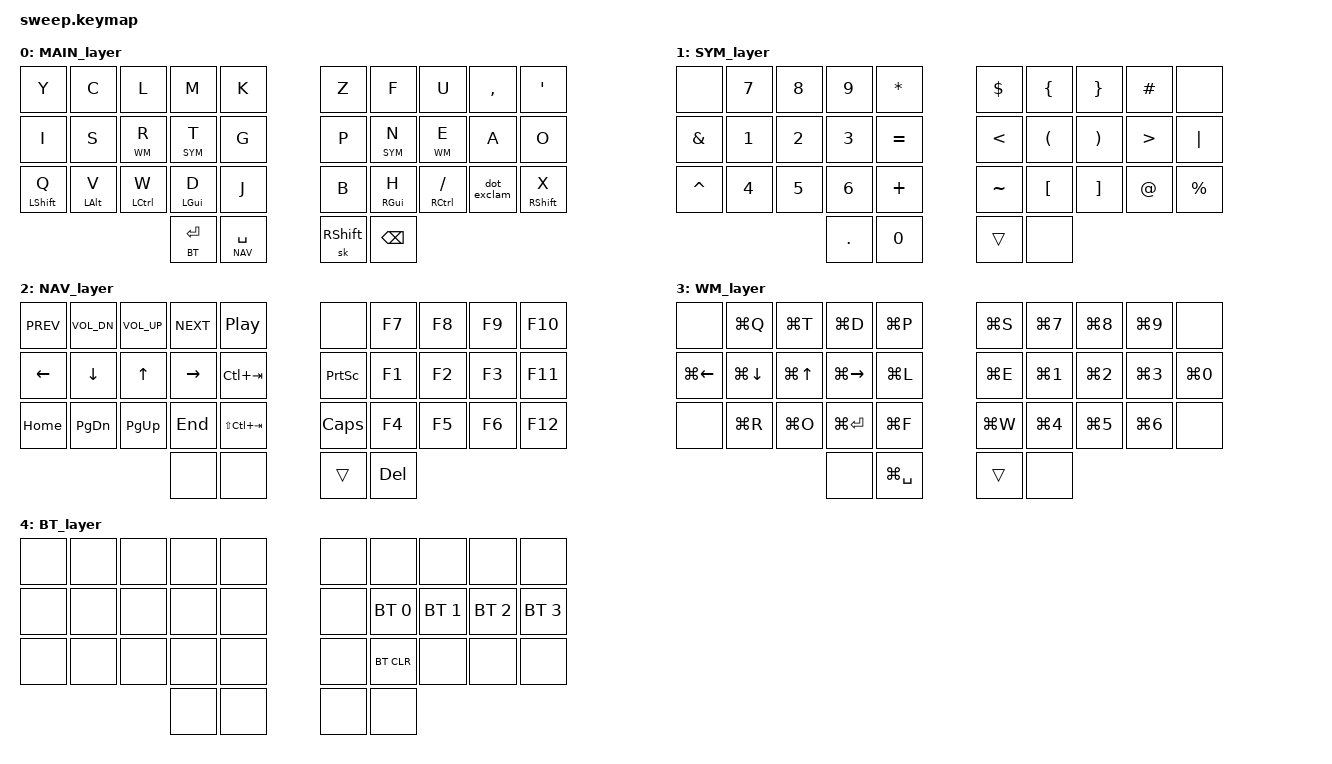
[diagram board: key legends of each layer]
/*
* Copyright (c) 2020 The ZMK Contributors
*
* SPDX-License-Identifier: MIT
*/

#include <behaviors.dtsi>
#include <dt-bindings/zmk/keys.h>
#include <dt-bindings/zmk/bt.h>

#define MAIN 0
#define SYM 1
#define NAV 2
#define WM 3
#define BT 4

&mt {
    flavor = "tap-preferred";
    tapping_term_ms = <140>;
};

/ {
    behaviors {
        dot_exclam: dot_exclam {
            compatible = "zmk,behavior-mod-morph";            
            label = "DOT_EXCLAM";            
            #binding-cells = <0>;            
            bindings = <&mt RALT DOT>, <&kp EXCL>;            
            mods = <(MOD_LSFT|MOD_RSFT)>;
        };
    };

    combos {
        compatible = "zmk,combos";

        combo_esc {
            timeout-ms = <100>;
            key-positions = <21 22>;
            bindings = <&kp ESC>;
        };

        combo_tab {
            timeout-ms = <100>;
            key-positions = <22 23>;
            bindings = <&kp TAB>;
        };

        combo_minus {
            timeout-ms = <100>;
            key-positions = <26 27>;
            bindings = <&kp MINUS>;
        };

        combo_underscore {
            timeout-ms = <100>;
            key-positions = <26 28>;
            bindings = <&kp UNDERSCORE>;
        };

        combo_colon {
            timeout-ms = <100>;
            key-positions = <7 8>;
            bindings = <&kp COLON>;
        };

        combo_semicolon {
            timeout-ms = <100>;
            key-positions = <6 8>;
            bindings = <&kp SEMICOLON>;
        };

        combo_backslash {
            timeout-ms = <100>;
            key-positions = <27 28>;
            bindings = <&kp BSLH>;
        };

        combo_grave {
            timeout-ms = <100>;
            key-positions = <8 9>;
            bindings = <&kp GRAVE>;
        };
    };

    keymap {
        compatible = "zmk,keymap";

        MAIN_layer {
            bindings = <
                &kp Y       &kp C      &kp L       &kp M        &kp K          &kp Z     &kp F      &kp U          &kp COMMA   &kp APOS
                &kp I       &kp S      &lt WM R    &lt SYM T    &kp G          &kp P     &lt SYM N  &lt WM E       &kp A       &kp O
                &mt LSHFT Q &mt LALT V &mt LCTRL W &mt LGUI D   &kp J          &kp B     &mt RGUI H &mt RCTRL FSLH &dot_exclam &mt RSHFT X
                                                   &lt BT ENTER &lt NAV SPC    &sk RSHFT &kp BKSP 
            >;
        };

        SYM_layer {
            bindings = <
                &none     &kp N7 &kp N8 &kp N9  &kp STAR     &kp DLLR  &kp LBRC &kp RBRC &kp HASH  &none
                &kp AMPS  &kp N1 &kp N2 &kp N3  &kp EQUAL    &kp LT    &kp LPAR &kp RPAR &kp GT    &kp PIPE
                &kp CARET &kp N4 &kp N5 &kp N6  &kp PLUS     &kp TILDE &kp LBKT &kp RBKT &kp AT    &kp PRCNT
                                        &kp DOT &kp N0       &trans    &none 
            >;
        };

        NAV_layer {
            bindings = <
                &kp C_PREV &kp C_VOL_DN &kp C_VOL_UP &kp C_NEXT &kp C_PP           &none     &kp F7  &kp F8 &kp F9 &kp F10
                &kp LEFT   &kp DOWN     &kp UP       &kp RIGHT  &kp LC(TAB)        &kp PSCRN &kp F1  &kp F2 &kp F3 &kp F11
                &kp HOME   &kp PG_DN    &kp PG_UP    &kp END    &kp LS(LC(TAB))    &kp CAPS  &kp F4  &kp F5 &kp F6 &kp F12
                                                     &none      &none              &trans    &kp DEL
            >;
        };

        WM_layer {
            bindings = <
                &none        &kp LG(Q)    &kp LG(T)  &kp LG(D)     &kp LG(P)      &kp LG(S) &kp LG(N7) &kp LG(N8) &kp LG(N9) &none
                &kp LG(LEFT) &kp LG(DOWN) &kp LG(UP) &kp LG(RIGHT) &kp LG(L)      &kp LG(E) &kp LG(N1) &kp LG(N2) &kp LG(N3) &kp LG(N0)
                &none        &kp LG(R)    &kp LG(O)  &kp LG(ENTER) &kp LG(F)      &kp LG(W) &kp LG(N4) &kp LG(N5) &kp LG(N6) &none
                                                     &none         &kp LG(SPC)    &trans    &none
            >;
        };

        BT_layer {
            bindings = <
                &none &none &none &none &none    &none &none        &none        &none        &none
                &none &none &none &none &none    &none &bt BT_SEL 0 &bt BT_SEL 1 &bt BT_SEL 2 &bt BT_SEL 3
                &none &none &none &none &none    &none &bt BT_CLR   &none        &none        &none
                                  &none &none    &none &none
            >;
        };
    };
};
